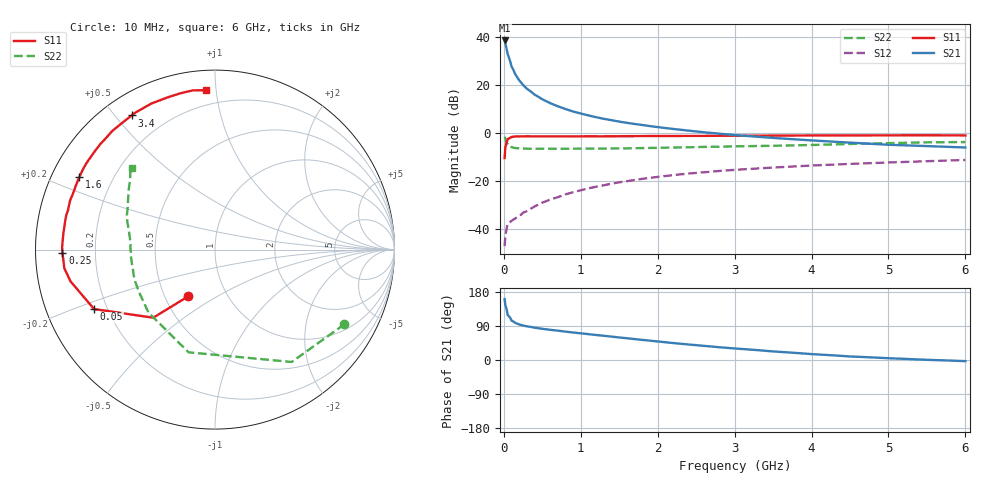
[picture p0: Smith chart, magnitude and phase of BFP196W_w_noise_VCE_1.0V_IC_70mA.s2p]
! Infineon Technologies  Discrete & RF Semiconductors
! BFP196W
! VCE =  1.0 V,  IC =  70 mA
! Common Emitter S-Parameters:  Jan 2017
# GHz  S  MA  R  50
!  f  S11  S21  S12  S22
! GHz  MAG  ANG  MAG  ANG  MAG  ANG  MAG  ANG
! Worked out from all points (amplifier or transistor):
!   77 points, 10 MHz to 6 GHz, reference 50 ohm
!   highest |S21| = 38.5 dB at 10 MHz (marker M1)
!   |S21| within 3 dB of that: start of sweep to 32.37 MHz
!   unconditionally stable (mu >= 1): 454.1 MHz to 5.314 GHz; 5.683 GHz to end of sweep
!   at 130 MHz: K = 0.58, MSG = 30.9 dB, |S12| = -36.0 dB
!   at 2.2 GHz: K = 1.05, MAG = 8.2 dB, |S12| = -17.6 dB
!   at 6 GHz: K = 1.01, MAG = 1.9 dB, |S12| = -11.2 dB
!   lowest NFmin = 1.58 dB at 450 MHz
!   S11 on the Smith chart (normalised r, x): 10 MHz: 0.66, -0.37; 50 MHz: 0.15, -0.23; 250 MHz: 0.08, -0.01; 1.6 GHz: 0.08, +0.25; 3.4 GHz: 0.08, +0.55; 6 GHz: 0.11, +0.94
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0.01  0.2991 -119.7  84.27 160.9  0.0044 73.2  0.8325 -30.0
0.02  0.512 -132.2  73.05 144.3  0.0072 61.4  0.7579 -55.7
0.05  0.7508 -153.8  43.81 118.6  0.0129 42.3  0.5909 -104.4
0.1  0.8242 -167.6  24.25 103.8  0.0148 41.2  0.5103 -136.6
0.15  0.8459 -173.0  16.51 97.6  0.0167 42.3  0.4847 -150.7
0.2  0.8472 -176.5  12.46 93.8  0.0184 49.6  0.4791 -157.9
0.25  0.85 -178.8  9.986 90.9  0.0219 51.8  0.4749 -162.7
0.3  0.852 179.2  8.328 88.9  0.0236 55.9  0.4706 -166.1
0.4  0.85 176.1  6.276 85.2  0.0295 59.5  0.4694 -170.4
0.5  0.8496 173.5  5.024 82.3  0.0354 62.2  0.4691 -173.3
0.6  0.8487 171.3  4.199 79.7  0.0409 63.6  0.4708 -175.6
0.7  0.8499 169.2  3.6 77.5  0.046 65.0  0.4683 -177.4
0.9  0.8478 165.0  2.801 72.6  0.0584 65.6  0.4706 180.0
1.1  0.8525 161.3  2.316 68.2  0.0702 64.9  0.4714 177.5
1.3  0.8508 157.4  1.971 63.9  0.0816 64.0  0.4734 175.4
1.6  0.8576 151.9  1.625 57.4  0.0992 61.4  0.4785 172.1
2.1  0.8637 142.6  1.268 46.9  0.1271 56.8  0.4936 167.1
3.1  0.875 126.3  0.881 29.0  0.1745 46.4  0.5293 157.8
3.4  0.8801 121.9  0.811 24.3  0.1864 43.5  0.5379 154.9
4.1  0.887 112.3  0.685 14.4  0.2131 37.0  0.5673 148.4
5.1  0.8922 101.6  0.561 3.9  0.2458 28.5  0.619 139.8
6  0.889 93.3  0.498 -3.0  0.2739 21.2  0.647 135.3
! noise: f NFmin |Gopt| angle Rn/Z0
0.45  1.58  0.55  -175  0.06
0.9  1.7  0.58  -169  0.07
1.9  2.54  0.7  -148  0.18
2.4  2.95  0.74  -143  0.3
